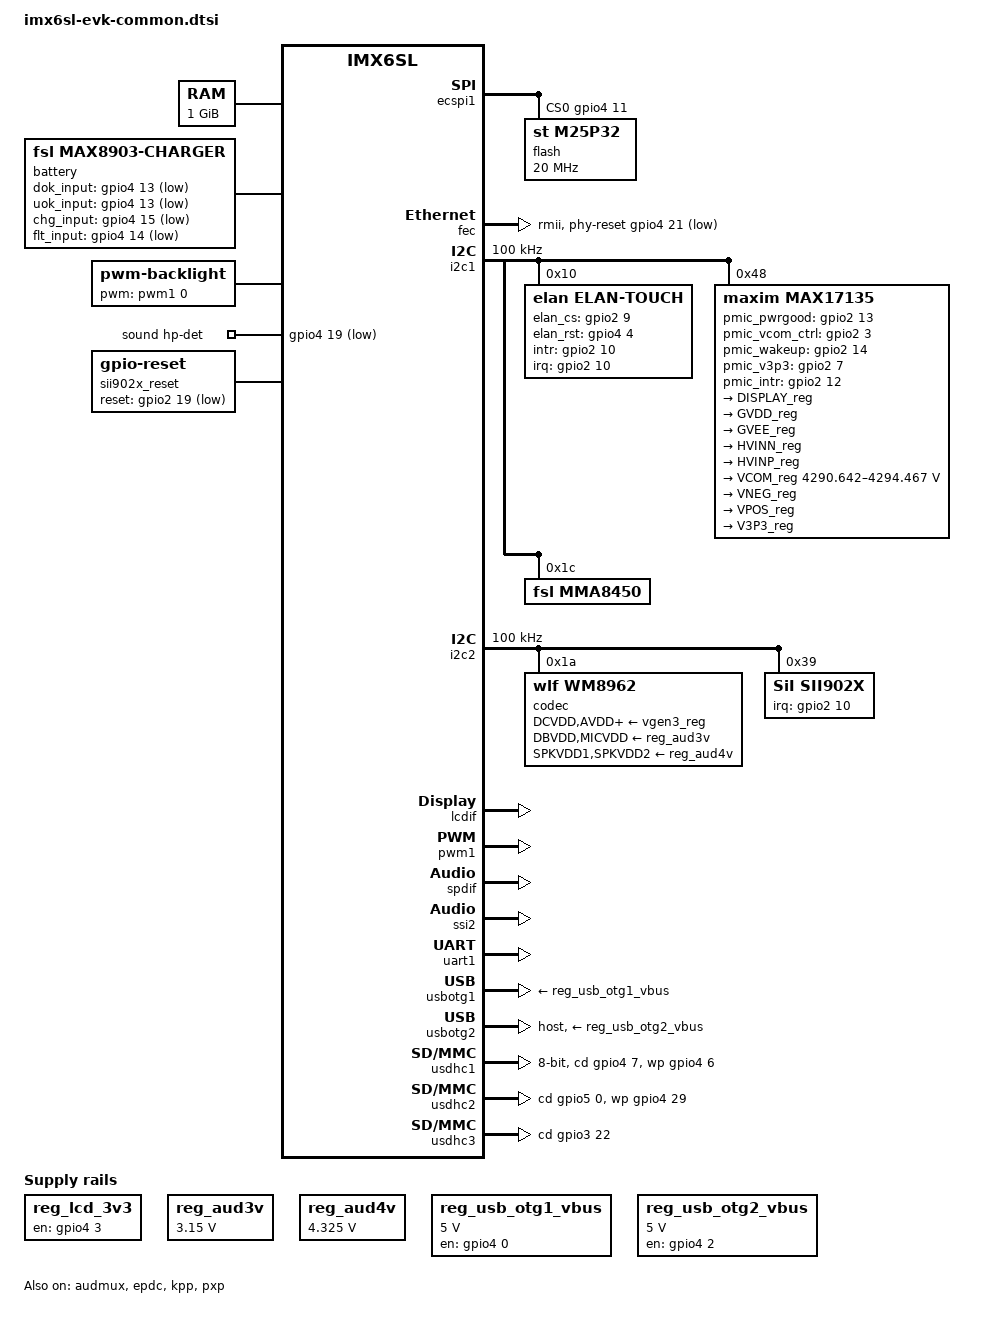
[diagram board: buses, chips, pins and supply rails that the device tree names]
/*
 * Copyright (C) 2014 Freescale Semiconductor, Inc.
 *
 * This program is free software; you can redistribute it and/or modify
 * it under the terms of the GNU General Public License version 2 as
 * published by the Free Software Foundation.
 */

/ {
	memory {
		reg = <0x80000000 0x40000000>;
	};

	battery: max8903@0 {
		compatible = "fsl,max8903-charger";
		pinctrl-names = "default";
		dok_input = <&gpio4 13 1>;
		uok_input = <&gpio4 13 1>;
		chg_input = <&gpio4 15 1>;
		flt_input = <&gpio4 14 1>;
		fsl,dcm_always_high;
		fsl,dc_valid;
		fsl,adc_disable;
		status = "okay";
	};

	regulators {
		compatible = "simple-bus";

		reg_lcd_3v3: lcd-3v3 {
			compatible = "regulator-fixed";
			regulator-name = "lcd-3v3";
			gpio = <&gpio4 3 0>;
			enable-active-high;
		};

		reg_aud3v: wm8962_supply_3v15 {
			compatible = "regulator-fixed";
			regulator-name = "wm8962-supply-3v15";
			regulator-min-microvolt = <3150000>;
			regulator-max-microvolt = <3150000>;
			regulator-boot-on;
		};

		reg_aud4v: wm8962_supply_4v2 {
			compatible = "regulator-fixed";
			regulator-name = "wm8962-supply-4v2";
			regulator-min-microvolt = <4325000>;
			regulator-max-microvolt = <4325000>;
			regulator-boot-on;
		};

		reg_usb_otg1_vbus: usb_otg1_vbus {
			compatible = "regulator-fixed";
			regulator-name = "usb_otg1_vbus";
			regulator-min-microvolt = <5000000>;
			regulator-max-microvolt = <5000000>;
			gpio = <&gpio4 0 0>;
			enable-active-high;
		};

		reg_usb_otg2_vbus: usb_otg2_vbus {
			compatible = "regulator-fixed";
			regulator-name = "usb_otg2_vbus";
			regulator-min-microvolt = <5000000>;
			regulator-max-microvolt = <5000000>;
			gpio = <&gpio4 2 0>;
			enable-active-high;
		};
	};

	backlight {
		compatible = "pwm-backlight";
		pwms = <&pwm1 0 5000000>;
		brightness-levels = <0 4 8 16 32 64 128 255>;
		default-brightness-level = <6>;
	};

	csi_v4l2_cap {
		compatible = "fsl,imx6sl-csi-v4l2";
		status = "disabled";
	};

	pxp_v4l2_out {
		compatible = "fsl,imx6sl-pxp-v4l2";
		status = "okay";
	};

	sound {
		compatible = "fsl,imx6q-sabresd-wm8962",
			   "fsl,imx-audio-wm8962";
		model = "wm8962-audio";
		ssi-controller = <&ssi2>;
		audio-codec = <&codec>;
		audio-routing =
			"Headphone Jack", "HPOUTL",
			"Headphone Jack", "HPOUTR",
			"Ext Spk", "SPKOUTL",
			"Ext Spk", "SPKOUTR",
			"AMIC", "MICBIAS",
			"IN3R", "AMIC";
		amic-mono;
		mux-int-port = <2>;
		mux-ext-port = <3>;
		hp-det-gpios = <&gpio4 19 1>;
	};

	sound-spdif {
		compatible = "fsl,imx-audio-spdif",
			   "fsl,imx6sl-evk-spdif";
		model = "imx-spdif";
		spdif-controller = <&spdif>;
		spdif-out;
	};

	sii902x_reset: sii902x-reset {
		compatible = "gpio-reset";
		reset-gpios = <&gpio2 19 1>;
		reset-delay-us = <100000>;
		#reset-cells = <0>;
	};
};

&audmux {
	pinctrl-names = "default";
	pinctrl-0 = <&pinctrl_audmux_1>;
	status = "okay";
};

&csi {
	status = "disabled";
};

&ecspi1 {
	fsl,spi-num-chipselects = <1>;
	cs-gpios = <&gpio4 11 0>;
	pinctrl-names = "default";
	pinctrl-0 = <&pinctrl_ecspi1_1>;
	status = "okay";

	flash: m25p80@0 {
		#address-cells = <1>;
		#size-cells = <1>;
		compatible = "st,m25p32";
		spi-max-frequency = <20000000>;
		reg = <0>;
	};
};

&epdc {
	pinctrl-names = "default";
	pinctrl-0 = <&pinctrl_epdc_0>;
	V3P3-supply = <&V3P3_reg>;
	VCOM-supply = <&VCOM_reg>;
	DISPLAY-supply = <&DISPLAY_reg>;
	status = "okay";
};

&cpu0 {
	arm-supply = <&sw1a_reg>;
	soc-supply = <&sw1c_reg>;
	pu-supply = <&pu_dummy>; /* use pu_dummy if VDDSOC share with VDDPU */
};

&fec {
	pinctrl-names = "default", "sleep";
	pinctrl-0 = <&pinctrl_fec_1>;
	pinctrl-1 = <&pinctrl_fec_1_sleep>;
	phy-mode = "rmii";
	phy-reset-gpios = <&gpio4 21 0>; /* GPIO4_21 */
	phy-reset-duration = <1>;
	status = "okay";
};

&gpc {
	fsl,cpu_pupscr_sw2iso = <0xf>;
	fsl,cpu_pupscr_sw = <0xf>;
	fsl,cpu_pdnscr_iso2sw = <0x1>;
	fsl,cpu_pdnscr_iso = <0x1>;
	fsl,ldo-bypass = <1>; /* use ldo-bypass, u-boot will check it and configure */
	fsl,wdog-reset = <1>; /* watchdog select of reset source */
	pu-supply = <&pu_dummy>; /* ldo-bypass:use pu_dummy if VDDSOC share with VDDPU */
};

&gpu {
	pu-supply = <&pu_dummy>; /* ldo-bypass:use pu_dummy if VDDSOC share with VDDPU */
};

&i2c1 {
	clock-frequency = <100000>;
	pinctrl-names = "default";
	pinctrl-0 = <&pinctrl_i2c1_1>;
	status = "okay";

	elan@10 {
		compatible = "elan,elan-touch";
		reg = <0x10>;
		interrupt-parent = <&gpio2>;
		interrupts = <10 2>;
		gpio_elan_cs = <&gpio2 9 0>;
		gpio_elan_rst = <&gpio4 4 0>;
		gpio_intr = <&gpio2 10 0>;
		status = "okay";
	};

	max17135@48 {
		compatible = "maxim,max17135";
		reg = <0x48>;
		vneg_pwrup = <1>;
		gvee_pwrup = <2>;
		vpos_pwrup = <10>;
		gvdd_pwrup = <12>;
		gvdd_pwrdn = <1>;
		vpos_pwrdn = <2>;
		gvee_pwrdn = <8>;
		vneg_pwrdn = <10>;
		gpio_pmic_pwrgood = <&gpio2 13 0>;
		gpio_pmic_vcom_ctrl = <&gpio2 3 0>;
		gpio_pmic_wakeup = <&gpio2 14 0>;
		gpio_pmic_v3p3 = <&gpio2 7 0>;
		gpio_pmic_intr = <&gpio2 12 0>;

		regulators {
			DISPLAY_reg: DISPLAY {
				regulator-name = "DISPLAY";
			};

			GVDD_reg: GVDD {
				/* 20v */
				regulator-name = "GVDD";
			};

			GVEE_reg: GVEE {
				/* -22v */
				regulator-name = "GVEE";
			};

			HVINN_reg: HVINN {
				/* -22v */
				regulator-name = "HVINN";
			};

			HVINP_reg: HVINP {
				/* 20v */
				regulator-name = "HVINP";
			};

			VCOM_reg: VCOM {
				regulator-name = "VCOM";
				/* 2's-compliment, -4325000 */
				regulator-min-microvolt = <0xffbe0178>;
				/* 2's-compliment, -500000 */
				regulator-max-microvolt = <0xfff85ee0>;
			};

			VNEG_reg: VNEG {
				/* -15v */
				regulator-name = "VNEG";
			};

			VPOS_reg: VPOS {
				/* 15v */
				regulator-name = "VPOS";
			};

			V3P3_reg: V3P3 {
				regulator-name = "V3P3";
			};
		};
	};

	mma8450@1c {
		compatible = "fsl,mma8450";
		reg = <0x1c>;
	};
};

&i2c2 {
	clock-frequency = <100000>;
	pinctrl-names = "default";
	pinctrl-0 = <&pinctrl_i2c2_1>;
	status = "okay";

	codec: wm8962@1a {
		compatible = "wlf,wm8962";
		reg = <0x1a>;
		clocks = <&clks IMX6SL_CLK_EXTERN_AUDIO>;
		DCVDD-supply = <&vgen3_reg>;
		DBVDD-supply = <&reg_aud3v>;
		AVDD-supply = <&vgen3_reg>;
		CPVDD-supply = <&vgen3_reg>;
		MICVDD-supply = <&reg_aud3v>;
		PLLVDD-supply = <&vgen3_reg>;
		SPKVDD1-supply = <&reg_aud4v>;
		SPKVDD2-supply = <&reg_aud4v>;
		amic-mono;
	};

	sii902x@39 {
		compatible = "SiI,sii902x";
		interrupt-parent = <&gpio2>;
		interrupts = <10 2>;
		mode_str ="1280x720M@60";
		bits-per-pixel = <32>;
		resets = <&sii902x_reset>;
		reg = <0x39>;
	};
};

&i2c3 {
	clock-frequency = <100000>;
	pinctrl-names = "default";
	pinctrl-0 = <&pinctrl_i2c3_1>;
	status = "disabled";

	ov564x: ov564x@3c {
		compatible = "ovti,ov564x";
		reg = <0x3c>;
		pinctrl-names = "default";
		pinctrl-0 = <&pinctrl_csi_0>;
		clocks = <&clks IMX6SL_CLK_CSI>;
		clock-names = "csi_mclk";
		AVDD-supply = <&vgen6_reg>;  /* 2.8v */
		DVDD-supply = <&vgen2_reg>;  /* 1.5v*/
		pwn-gpios = <&gpio1 25 1>;
		rst-gpios = <&gpio1 26 0>;
		csi_id = <0>;
		mclk = <24000000>;
		mclk_source = <0>;
	};
};

&iomuxc {
	pinctrl-names = "default", "sleep";
	pinctrl-0 = <&pinctrl_hog>;
	pinctrl-1 = <&pinctrl_hog_sleep>;

	hog {
		pinctrl_hog: hoggrp {
			fsl,pins = <
				MX6SL_PAD_KEY_ROW7__GPIO4_IO07    0x17059
				MX6SL_PAD_KEY_COL7__GPIO4_IO06    0x17059
				MX6SL_PAD_SD2_DAT7__GPIO5_IO00    0x17059
				MX6SL_PAD_SD2_DAT6__GPIO4_IO29    0x17059
				MX6SL_PAD_REF_CLK_32K__GPIO3_IO22 0x17059
				MX6SL_PAD_FEC_TX_CLK__GPIO4_IO21  0x80000000
				MX6SL_PAD_KEY_ROW5__GPIO4_IO03	  0x110b0
				MX6SL_PAD_EPDC_VCOM0__GPIO2_IO03  0x80000000
				MX6SL_PAD_EPDC_PWRSTAT__GPIO2_IO13 0x80000000
				MX6SL_PAD_EPDC_PWRCTRL0__GPIO2_IO07 0x80000000
				MX6SL_PAD_EPDC_PWRWAKEUP__GPIO2_IO14 0x80000000
				MX6SL_PAD_EPDC_PWRINT__GPIO2_IO12 0x80000000
				MX6SL_PAD_EPDC_PWRCTRL3__GPIO2_IO10 0x17000
				MX6SL_PAD_EPDC_PWRCTRL2__GPIO2_IO09 0x80000000
				MX6SL_PAD_KEY_COL6__GPIO4_IO04    0x110b0
				MX6SL_PAD_ECSPI2_MISO__GPIO4_IO14 0x17000
				MX6SL_PAD_ECSPI2_MOSI__GPIO4_IO13 0x17000
				MX6SL_PAD_ECSPI2_SS0__GPIO4_IO15  0x17000
				MX6SL_PAD_FEC_RX_ER__GPIO4_IO19   0x1b0b0
				MX6SL_PAD_LCD_RESET__GPIO2_IO19 0x1b0b0
				MX6SL_PAD_KEY_COL4__GPIO4_IO00	0x80000000
				MX6SL_PAD_KEY_COL5__GPIO4_IO02	0x80000000
			>;
		};

		pinctrl_hog_sleep: hoggrp_sleep {
			fsl,pins = <
				MX6SL_PAD_KEY_ROW5__GPIO4_IO03	  0x3080
				MX6SL_PAD_KEY_COL6__GPIO4_IO04 	  0x3080
				MX6SL_PAD_LCD_RESET__GPIO2_IO19   0x3080
			>;
		};
	};
};

&kpp {
	pinctrl-names = "default", "sleep";
	pinctrl-0 = <&pinctrl_kpp_1>;
	pinctrl-1 = <&pinctrl_kpp_1_sleep>;
	linux,keymap = <
			0x00000067      /* KEY_UP */
			0x0001006c      /* KEY_DOWN */
			0x0002001c      /* KEY_ENTER */
			0x01000066      /* KEY_HOME */
			0x0101006a      /* KEY_RIGHT */
			0x01020069      /* KEY_LEFT */
			0x02000072      /* KEY_VOLUMEDOWN */
			0x02010073      /* KEY_VOLUMEUP */
		>;
        status = "okay";
};

&lcdif {
	pinctrl-names = "default";
	pinctrl-0 = <&pinctrl_lcdif_dat_0
		     &pinctrl_lcdif_ctrl_0>;
	lcd-supply = <&reg_lcd_3v3>;
	display = <&display>;
	status = "okay";

	display: display {
		bits-per-pixel = <16>;
		bus-width = <24>;

		display-timings {
			native-mode = <&timing0>;
			timing0: timing0 {
				clock-frequency = <33500000>;
				hactive = <800>;
				vactive = <480>;
				hback-porch = <89>;
				hfront-porch = <164>;
				vback-porch = <23>;
				vfront-porch = <10>;
				hsync-len = <10>;
				vsync-len = <10>;
				hsync-active = <0>;
				vsync-active = <0>;
				de-active = <1>;
				pixelclk-active = <0>;
			};
		};
	};
};

&pwm1 {
	pinctrl-names = "default", "sleep";
	pinctrl-0 = <&pinctrl_pwm1_0>;
	pinctrl-1 = <&pinctrl_pwm1_0_sleep>;
	status = "okay";
};

&pxp {
	status = "okay";
};

&spdif {
	pinctrl-names = "default";
	pinctrl-0 = <&pinctrl_spdif_1>;
	status = "okay";
};

&ssi2 {
	fsl,mode = "i2s-slave";
	status = "okay";
};

&uart1 {
	pinctrl-names = "default";
	pinctrl-0 = <&pinctrl_uart1_1>;
	status = "okay";
};

&usbotg1 {
	vbus-supply = <&reg_usb_otg1_vbus>;
	pinctrl-names = "default";
	pinctrl-0 = <&pinctrl_usbotg1_1>;
	disable-over-current;
	imx6-usb-charger-detection;
	status = "okay";
};

&usbotg2 {
	vbus-supply = <&reg_usb_otg2_vbus>;
	dr_mode = "host";
	disable-over-current;
	status = "okay";
};

&usdhc1 {
	pinctrl-names = "default", "state_100mhz", "state_200mhz";
	pinctrl-0 = <&pinctrl_usdhc1_1>;
	pinctrl-1 = <&pinctrl_usdhc1_1_100mhz>;
	pinctrl-2 = <&pinctrl_usdhc1_1_200mhz>;
	bus-width = <8>;
	cd-gpios = <&gpio4 7 0>;
	wp-gpios = <&gpio4 6 0>;
	keep-power-in-suspend;
	enable-sdio-wakeup;
	status = "okay";
};

&usdhc2 {
	pinctrl-names = "default", "state_100mhz", "state_200mhz";
	pinctrl-0 = <&pinctrl_usdhc2_1>;
	pinctrl-1 = <&pinctrl_usdhc2_1_100mhz>;
	pinctrl-2 = <&pinctrl_usdhc2_1_200mhz>;
	cd-gpios = <&gpio5 0 0>;
	wp-gpios = <&gpio4 29 0>;
	keep-power-in-suspend;
	enable-sdio-wakeup;
	status = "okay";
};

&usdhc3 {
	pinctrl-names = "default", "state_100mhz", "state_200mhz";
	pinctrl-0 = <&pinctrl_usdhc3_1>;
	pinctrl-1 = <&pinctrl_usdhc3_1_100mhz>;
	pinctrl-2 = <&pinctrl_usdhc3_1_200mhz>;
	cd-gpios = <&gpio3 22 0>;
	keep-power-in-suspend;
	enable-sdio-wakeup;
	status = "okay";
};
